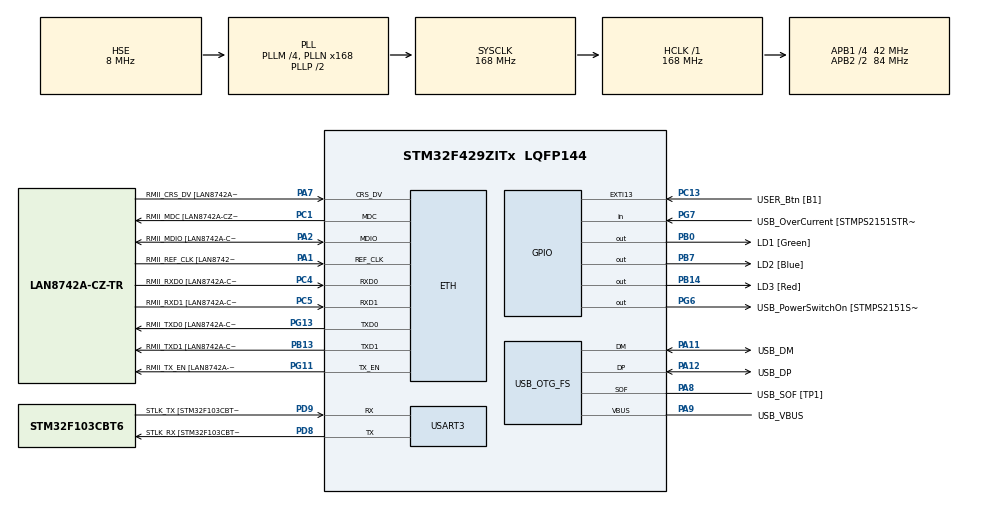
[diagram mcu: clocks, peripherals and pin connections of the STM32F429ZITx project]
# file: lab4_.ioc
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Mcu.Family=STM32F4
RCC.CortexFreq_Value=168000000
FREERTOS.BinarySemaphores01=myBinarySem01,Dynamic,NULL;myBinarySem02,Dynamic,NULL;myBinarySem03,Dynamic,NULL
PG6.Signal=GPIO_Output
PB14.GPIO_Label=LD3 [Red]
PG6.GPIO_Label=USB_PowerSwitchOn [STMPS2151STR_EN]
PA14.GPIO_Label=TCK
RCC.SYSCLKSourceVirtual=RCC_SYSCLKSOURCE_PLLCLK
PA11.Mode=Device_Only
PB0.GPIO_Label=LD1 [Green]
PC14/OSC32_IN.Mode=LSE-External-Oscillator
PC5.Mode=RMII
PC13.GPIO_Label=USER_Btn [B1]
PB13.GPIO_Label=RMII_TXD1 [LAN8742A-CZ-TR_TXD1]
PB13.Signal=ETH_TXD1
PG13.Signal=ETH_TXD0
PD9.Mode=Asynchronous
PG11.Signal=ETH_TX_EN
RCC.SYSCLKSource=RCC_SYSCLKSOURCE_PLLCLK
ProjectManager.StackSize=0x400
PA12.Signal=USB_OTG_FS_DP
ETH.PHY_Value=0
PH0/OSC_IN.Mode=HSE-External-Clock-Source
RCC.HCLKFreq_Value=168000000
RCC.APB2TimFreq_Value=168000000
PH1/OSC_OUT.Signal=RCC_OSC_OUT
PD8.Signal=USART3_TX
RCC.AHBFreq_Value=168000000
RCC.HSE_VALUE=8000000
RCC.PLLMUL=RCC_PLL_MUL9
PC4.GPIO_Label=RMII_RXD0 [LAN8742A-CZ-TR_RXD0]
PA14.Mode=Serial_Wire
VP_SYS_VS_tim1.Mode=TIM1
PA10.GPIO_Label=USB_ID
PB7.Signal=GPIO_Output
PA8.Signal=USB_OTG_FS_SOF
PG13.Mode=RMII
ETH.PHY_Name=LAN8742A_PHY_ADDRESS
VP_FREERTOS_VS_CMSIS_V1.Mode=CMSIS_V1
PH1/OSC_OUT.Mode=HSE-External-Clock-Source
PB7.GPIO_Label=LD2 [Blue]
Mcu.Package=LQFP144
NVIC.TimeBase=TIM1_UP_TIM10_IRQn
PC14/OSC32_IN.Signal=RCC_OSC32_IN
PA2.GPIO_Label=RMII_MDIO [LAN8742A-CZ-TR_MDIO]
NVIC.TimeBaseIP=TIM1
PA10.Signal=USB_OTG_FS_ID
USB_OTG_FS.VirtualMode=Device_Only
RCC.APB2CLKDivider=RCC_HCLK_DIV2
RCC.APB1TimFreq_Value=84000000
PG11.GPIO_Label=RMII_TX_EN [LAN8742A-CZ-TR_TXEN]
PC5.Signal=ETH_RXD1
PB13.Mode=RMII
PC4.Mode=RMII
ETH.AutoNegotiation=ETH_AUTONEGOTIATION_DISABLE
FREERTOS.Tasks01=task1,0,128,StartTask1,Default,NULL,Dynamic,NULL,NULL;task2,0,128,StartTask02,Default,NULL,Dynamic,NULL,NULL;task3,0,128,StartTask03,Default,NULL,Dynamic,NULL,NULL
PA7.Mode=RMII
PG7.Signal=GPIO_Input
PD9.GPIO_Label=STLK_TX [STM32F103CBT6_PA2]
PC13.Signal=GPXTI13
PA9.GPIO_Label=USB_VBUS
PC4.Signal=ETH_RXD0
PA11.GPIO_Label=USB_DM
PD9.Signal=USART3_RX
RCC.APB1CLKDivider=RCC_HCLK_DIV4
PG13.GPIO_Label=RMII_TXD0 [LAN8742A-CZ-TR_TXD0]
ETH.PhyAddress=0
PA12.GPIO_Label=USB_DP
PD8.GPIO_Label=STLK_RX [STM32F103CBT6_PA3]
PA13.Signal=SYS_JTMS-SWDIO
PA9.Mode=Activate_VBUS
PA8.GPIO_Label=USB_SOF [TP1]
ProjectManager.TargetToolchain=STM32CubeIDE
PA9.Signal=USB_OTG_FS_VBUS
RCC.USBFreq_Value=48000000
PD8.Mode=Asynchronous
PA1.Signal=ETH_REF_CLK
PB14.Signal=GPIO_Output
board=NUCLEO-F429ZI
RCC.VCOOutputFreq_Value=336000000
PH0/OSC_IN.Signal=RCC_OSC_IN
RCC.APB2Freq_Value=84000000
PA1.Mode=RMII
RCC.PRESCALERUSB=RCC_USBCLKSOURCE_PLL_DIV1_5
PG7.GPIO_Label=USB_OverCurrent [STMPS2151STR_FAULT]
PA1.GPIO_Label=RMII_REF_CLK [LAN8742A-CZ-TR_REFCLK0]
PC1.GPIO_Label=RMII_MDC [LAN8742A-CZ-TR_MDC]
PA13.Mode=Serial_Wire
Mcu.Name=STM32F429ZITx
PA2.Signal=ETH_MDIO
PA13.GPIO_Label=TMS
RCC.APB2TimCLKDivider=2
RCC.48MHZClocksFreq_Value=48000000
RCC.SYSCLKFreq_VALUE=168000000
ETH.MediaInterface=ETH_MEDIA_INTERFACE_RMII
PA7.GPIO_Label=RMII_CRS_DV [LAN8742A-CZ-TR_CRS_DV]
PA12.Mode=Device_Only
PC5.GPIO_Label=RMII_RXD1 [LAN8742A-CZ-TR_RXD1]
USART3.VirtualMode=VM_ASYNC
PC15/OSC32_OUT.Mode=LSE-External-Oscillator
PG11.Mode=RMII
PA11.Signal=USB_OTG_FS_DM
PA14.Signal=SYS_JTCK-SWCLK
ProjectManager.HeapSize=0x200
NVIC.TIM1_UP_TIM10_IRQn=true\:0\:0\:false\:false\:true\:false\:false\:true
RCC.HSI_VALUE=16000000
PH0/OSC_IN.GPIO_Label=MCO [STM32F103CBT6_PA8]
RCC.PLLQ=7
NVIC.PriorityGroup=NVIC_PRIORITYGROUP_4
RCC.PLLM=4
RCC.PLLN=168
PA2.Mode=RMII
PC15/OSC32_OUT.Signal=RCC_OSC32_OUT
PA8.Mode=Activate_SOF_FS
RCC.APB1Freq_Value=42000000
PB0.Signal=GPIO_Output
PC1.Signal=ETH_MDC
PC1.Mode=RMII
PA7.Signal=ETH_CRS_DV

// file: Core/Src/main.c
/* USER CODE BEGIN Header */
/**
  ******************************************************************************
  * @file           : main.c
  * @brief          : Main program body
  ******************************************************************************
  * @attention
  *
  * <h2><center>&copy; Copyright (c) 2021 STMicroelectronics.
  * All rights reserved.</center></h2>
  *
  * This software component is licensed by ST under BSD 3-Clause license,
  * the "License"; You may not use this file except in compliance with the
  * License. You may obtain a copy of the License at:
  *                        opensource.org/licenses/BSD-3-Clause
  *
  ******************************************************************************
  */
/* USER CODE END Header */
#include "main.h"
#include "cmsis_os.h"

ETH_HandleTypeDef heth;

UART_HandleTypeDef huart3;

PCD_HandleTypeDef hpcd_USB_OTG_FS;

osThreadId task1Handle;
osThreadId task2Handle;
osThreadId task3Handle;
osSemaphoreId myBinarySem01Handle;
osSemaphoreId myBinarySem02Handle;
osSemaphoreId myBinarySem03Handle;

void SystemClock_Config(void);
static void MX_GPIO_Init(void);
static void MX_ETH_Init(void);
static void MX_USART3_UART_Init(void);
static void MX_USB_OTG_FS_PCD_Init(void);
void StartTask1(void const * argument);
void StartTask02(void const * argument);
void StartTask03(void const * argument);

int main(void)
{

  /* MCU Configuration--------------------------------------------------------*/

  /* Reset of all peripherals, Initializes the Flash interface and the Systick. */
  HAL_Init();

  /* Configure the system clock */
  SystemClock_Config();

  /* Initialize all configured peripherals */
  MX_GPIO_Init();
  MX_ETH_Init();
  MX_USART3_UART_Init();
  MX_USB_OTG_FS_PCD_Init();

  /* Create the semaphores(s) */
  /* definition and creation of myBinarySem01 */
  osSemaphoreDef(myBinarySem01);
  myBinarySem01Handle = osSemaphoreCreate(osSemaphore(myBinarySem01), 1);

  /* definition and creation of myBinarySem02 */
  osSemaphoreDef(myBinarySem02);
  myBinarySem02Handle = osSemaphoreCreate(osSemaphore(myBinarySem02), 1);

  /* definition and creation of myBinarySem03 */
  osSemaphoreDef(myBinarySem03);
  myBinarySem03Handle = osSemaphoreCreate(osSemaphore(myBinarySem03), 1);

  /* USER CODE BEGIN RTOS_SEMAPHORES */
  /* add semaphores, ... */

  osSemaphoreWait(myBinarySem01Handle, 0);
  osSemaphoreWait(myBinarySem02Handle, 0);
  osSemaphoreWait(myBinarySem03Handle, 0);
  /* USER CODE END RTOS_SEMAPHORES */

  /* Create the thread(s) */
  /* definition and creation of task1 */
  osThreadDef(task1, StartTask1, osPriorityNormal, 0, 128);
  task1Handle = osThreadCreate(osThread(task1), NULL);

  /* definition and creation of task2 */
  osThreadDef(task2, StartTask02, osPriorityNormal, 0, 128);
  task2Handle = osThreadCreate(osThread(task2), NULL);

  /* definition and creation of task3 */
  osThreadDef(task3, StartTask03, osPriorityNormal, 0, 128);
  task3Handle = osThreadCreate(osThread(task3), NULL);

  /* Start scheduler */
  osKernelStart();

  /* We should never get here as control is now taken by the scheduler */
  /* Infinite loop */
  while (1)
  {

  }
}

void SystemClock_Config(void)
{
  RCC_OscInitTypeDef RCC_OscInitStruct = {0};
  RCC_ClkInitTypeDef RCC_ClkInitStruct = {0};

  /** Configure the main internal regulator output voltage
  */
  __HAL_RCC_PWR_CLK_ENABLE();
  __HAL_PWR_VOLTAGESCALING_CONFIG(PWR_REGULATOR_VOLTAGE_SCALE1);
  /** Initializes the RCC Oscillators according to the specified parameters
  * in the RCC_OscInitTypeDef structure.
  */
  RCC_OscInitStruct.OscillatorType = RCC_OSCILLATORTYPE_HSE;
  RCC_OscInitStruct.HSEState = RCC_HSE_BYPASS;
  RCC_OscInitStruct.PLL.PLLState = RCC_PLL_ON;
  RCC_OscInitStruct.PLL.PLLSource = RCC_PLLSOURCE_HSE;
  RCC_OscInitStruct.PLL.PLLM = 4;
  RCC_OscInitStruct.PLL.PLLN = 168;
  RCC_OscInitStruct.PLL.PLLP = RCC_PLLP_DIV2;
  RCC_OscInitStruct.PLL.PLLQ = 7;
  if (HAL_RCC_OscConfig(&RCC_OscInitStruct) != HAL_OK)
  {
    Error_Handler();
  }
  /** Initializes the CPU, AHB and APB buses clocks
  */
  RCC_ClkInitStruct.ClockType = RCC_CLOCKTYPE_HCLK|RCC_CLOCKTYPE_SYSCLK
                              |RCC_CLOCKTYPE_PCLK1|RCC_CLOCKTYPE_PCLK2;
  RCC_ClkInitStruct.SYSCLKSource = RCC_SYSCLKSOURCE_PLLCLK;
  RCC_ClkInitStruct.AHBCLKDivider = RCC_SYSCLK_DIV1;
  RCC_ClkInitStruct.APB1CLKDivider = RCC_HCLK_DIV4;
  RCC_ClkInitStruct.APB2CLKDivider = RCC_HCLK_DIV2;

  if (HAL_RCC_ClockConfig(&RCC_ClkInitStruct, FLASH_LATENCY_5) != HAL_OK)
  {
    Error_Handler();
  }
}

static void MX_ETH_Init(void)
{

  heth.Instance = ETH;
  heth.Init.AutoNegotiation = ETH_AUTONEGOTIATION_DISABLE;
  heth.Init.Speed = ETH_SPEED_100M;
  heth.Init.DuplexMode = ETH_MODE_FULLDUPLEX;
  heth.Init.PhyAddress = LAN8742A_PHY_ADDRESS;
  heth.Init.MACAddr[0] =   0x00;
  heth.Init.MACAddr[1] =   0x80;
  heth.Init.MACAddr[2] =   0xE1;
  heth.Init.MACAddr[3] =   0x00;
  heth.Init.MACAddr[4] =   0x00;
  heth.Init.MACAddr[5] =   0x00;
  heth.Init.RxMode = ETH_RXPOLLING_MODE;
  heth.Init.ChecksumMode = ETH_CHECKSUM_BY_HARDWARE;
  heth.Init.MediaInterface = ETH_MEDIA_INTERFACE_RMII;

  if (HAL_ETH_Init(&heth) != HAL_OK)
  {
    Error_Handler();
  }

}

static void MX_USART3_UART_Init(void)
{

  huart3.Instance = USART3;
  huart3.Init.BaudRate = 115200;
  huart3.Init.WordLength = UART_WORDLENGTH_8B;
  huart3.Init.StopBits = UART_STOPBITS_1;
  huart3.Init.Parity = UART_PARITY_NONE;
  huart3.Init.Mode = UART_MODE_TX_RX;
  huart3.Init.HwFlowCtl = UART_HWCONTROL_NONE;
  huart3.Init.OverSampling = UART_OVERSAMPLING_16;
  if (HAL_UART_Init(&huart3) != HAL_OK)
  {
    Error_Handler();
  }

}

static void MX_USB_OTG_FS_PCD_Init(void)
{

  hpcd_USB_OTG_FS.Instance = USB_OTG_FS;
  hpcd_USB_OTG_FS.Init.dev_endpoints = 4;
  hpcd_USB_OTG_FS.Init.speed = PCD_SPEED_FULL;
  hpcd_USB_OTG_FS.Init.dma_enable = DISABLE;
  hpcd_USB_OTG_FS.Init.phy_itface = PCD_PHY_EMBEDDED;
  hpcd_USB_OTG_FS.Init.Sof_enable = ENABLE;
  hpcd_USB_OTG_FS.Init.low_power_enable = DISABLE;
  hpcd_USB_OTG_FS.Init.lpm_enable = DISABLE;
  hpcd_USB_OTG_FS.Init.vbus_sensing_enable = ENABLE;
  hpcd_USB_OTG_FS.Init.use_dedicated_ep1 = DISABLE;
  if (HAL_PCD_Init(&hpcd_USB_OTG_FS) != HAL_OK)
  {
    Error_Handler();
  }

}

static void MX_GPIO_Init(void)
{
  GPIO_InitTypeDef GPIO_InitStruct = {0};

  /* GPIO Ports Clock Enable */
  __HAL_RCC_GPIOC_CLK_ENABLE();
  __HAL_RCC_GPIOH_CLK_ENABLE();
  __HAL_RCC_GPIOA_CLK_ENABLE();
  __HAL_RCC_GPIOB_CLK_ENABLE();
  __HAL_RCC_GPIOD_CLK_ENABLE();
  __HAL_RCC_GPIOG_CLK_ENABLE();

  /*Configure GPIO pin Output Level */
  HAL_GPIO_WritePin(GPIOB, LD1_Pin|LD3_Pin|LD2_Pin, GPIO_PIN_RESET);

  /*Configure GPIO pin Output Level */
  HAL_GPIO_WritePin(USB_PowerSwitchOn_GPIO_Port, USB_PowerSwitchOn_Pin, GPIO_PIN_RESET);

  /*Configure GPIO pin : USER_Btn_Pin */
  GPIO_InitStruct.Pin = USER_Btn_Pin;
  GPIO_InitStruct.Mode = GPIO_MODE_IT_RISING;
  GPIO_InitStruct.Pull = GPIO_NOPULL;
  HAL_GPIO_Init(USER_Btn_GPIO_Port, &GPIO_InitStruct);

  /*Configure GPIO pins : LD1_Pin LD3_Pin LD2_Pin */
  GPIO_InitStruct.Pin = LD1_Pin|LD3_Pin|LD2_Pin;
  GPIO_InitStruct.Mode = GPIO_MODE_OUTPUT_PP;
  GPIO_InitStruct.Pull = GPIO_NOPULL;
  GPIO_InitStruct.Speed = GPIO_SPEED_FREQ_LOW;
  HAL_GPIO_Init(GPIOB, &GPIO_InitStruct);

  /*Configure GPIO pin : USB_PowerSwitchOn_Pin */
  GPIO_InitStruct.Pin = USB_PowerSwitchOn_Pin;
  GPIO_InitStruct.Mode = GPIO_MODE_OUTPUT_PP;
  GPIO_InitStruct.Pull = GPIO_NOPULL;
  GPIO_InitStruct.Speed = GPIO_SPEED_FREQ_LOW;
  HAL_GPIO_Init(USB_PowerSwitchOn_GPIO_Port, &GPIO_InitStruct);

  /*Configure GPIO pin : USB_OverCurrent_Pin */
  GPIO_InitStruct.Pin = USB_OverCurrent_Pin;
  GPIO_InitStruct.Mode = GPIO_MODE_INPUT;
  GPIO_InitStruct.Pull = GPIO_NOPULL;
  HAL_GPIO_Init(USB_OverCurrent_GPIO_Port, &GPIO_InitStruct);

}

void StartTask1(void const * argument)
{
  /* USER CODE BEGIN 5 */
  /* Infinite loop */
  for(;;)
  {
	  HAL_GPIO_TogglePin(GPIOB,GPIO_PIN_7);
	  		  HAL_Delay(1000);
	  		  HAL_GPIO_TogglePin(GPIOB,GPIO_PIN_7);
	  		  HAL_Delay(1000);
	  		 HAL_GPIO_TogglePin(GPIOB,GPIO_PIN_7);
	  			  		  HAL_Delay(1000);
	  			  		  HAL_GPIO_TogglePin(GPIOB,GPIO_PIN_7);
	  			  		  HAL_Delay(1000);
	  	      osSemaphoreRelease(myBinarySem02Handle);
	  	      osSemaphoreWait(myBinarySem01Handle, osWaitForever);
  }
  /* USER CODE END 5 */
}

void StartTask02(void const * argument)
{
  /* USER CODE BEGIN StartTask02 */
  /* Infinite loop */
  for(;;)
  {
	  osSemaphoreWait(myBinarySem02Handle, osWaitForever);

	 		  HAL_GPIO_TogglePin(GPIOB,GPIO_PIN_0);
	 		  HAL_Delay(1000);
	 		  HAL_GPIO_TogglePin(GPIOB,GPIO_PIN_0);
	 		  HAL_Delay(1000);

	 		 HAL_GPIO_TogglePin(GPIOB,GPIO_PIN_0);
	 			 		  HAL_Delay(1000);
	 			 		  HAL_GPIO_TogglePin(GPIOB,GPIO_PIN_0);
	 			 		  HAL_Delay(1000);

	 			 		 HAL_GPIO_TogglePin(GPIOB,GPIO_PIN_0);
	 			 			 		  HAL_Delay(1000);
	 			 			 		  HAL_GPIO_TogglePin(GPIOB,GPIO_PIN_0);
	 			 			 		  HAL_Delay(1000);
	 		  osSemaphoreRelease(myBinarySem03Handle);
  }
  /* USER CODE END StartTask02 */
}

void StartTask03(void const * argument)
{
  /* USER CODE BEGIN StartTask03 */
  /* Infinite loop */
  for(;;)
  {
	  osSemaphoreWait(myBinarySem03Handle, osWaitForever);

	 		  HAL_GPIO_TogglePin(GPIOB,GPIO_PIN_14);
	 		  HAL_Delay(1000);
	 		  HAL_GPIO_TogglePin(GPIOB,GPIO_PIN_14);
	 		  HAL_Delay(1000);

	 		  HAL_GPIO_TogglePin(GPIOB,GPIO_PIN_14);
	 		  HAL_Delay(1000);
	 		  HAL_GPIO_TogglePin(GPIOB,GPIO_PIN_14);
	 		  HAL_Delay(1000);
	 		  osSemaphoreRelease(myBinarySem01Handle);
  }
  /* USER CODE END StartTask03 */
}

 /**
  * @brief  Period elapsed callback in non blocking mode
  * @note   This function is called  when TIM1 interrupt took place, inside
  * HAL_TIM_IRQHandler(). It makes a direct call to HAL_IncTick() to increment
  * a global variable "uwTick" used as application time base.
  * @param  htim : TIM handle
  * @retval None
  */
void HAL_TIM_PeriodElapsedCallback(TIM_HandleTypeDef *htim)
{
  if (htim->Instance == TIM1) {
    HAL_IncTick();
  }
}

void Error_Handler(void)
{
  __disable_irq();
  while (1)
  {
  }
}

/************************ (C) COPYRIGHT STMicroelectronics *****END OF FILE****/
